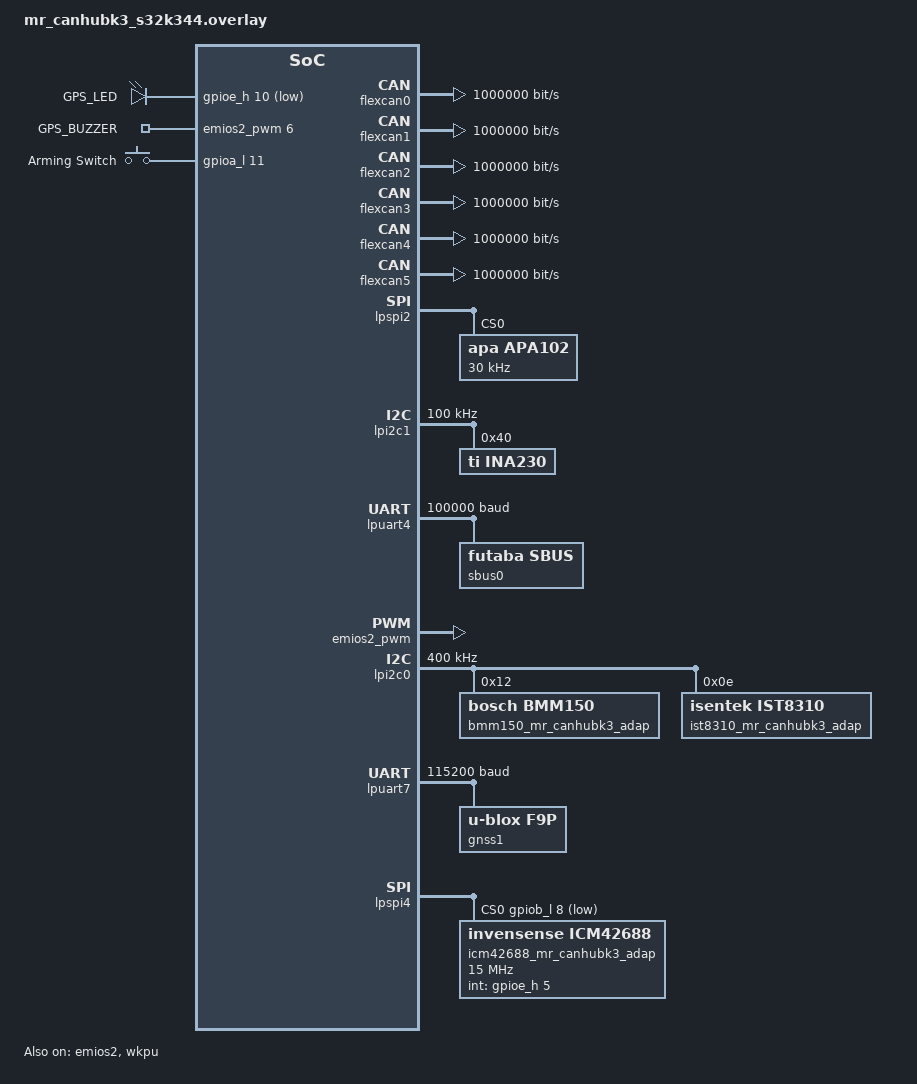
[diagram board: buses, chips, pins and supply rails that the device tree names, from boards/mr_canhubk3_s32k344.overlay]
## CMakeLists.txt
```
#-------------------------------------------------------------------------------
# Zephyr Cerebri Application
#
# Copyright (c) 2023 CogniPilot Foundation
# SPDX-License-Identifier: Apache-2.0

cmake_minimum_required(VERSION 3.13.1)

find_package(Zephyr REQUIRED HINTS $ENV{ZEPHYR_BASE})

project(melm LANGUAGES C)

set(CYECCA_PYTHON  ${CMAKE_CURRENT_SOURCE_DIR}/../../scripts/cyecca_python)

set(flags
  -std=c11
  -Wall
  -Wextra
  -Werror
  -Wstrict-prototypes
  -Waggregate-return
  -Wbad-function-cast
  -Wcast-align
  -Wcast-qual
  -Wfloat-equal
  -Wformat-security
  -Wlogical-op
  -Wmissing-declarations
  # ubxlib includes geographiclib which dir doesn't exist
  #-Wmissing-include-dirs
  -Wmissing-prototypes
  -Wnested-externs
  -Wpointer-arith
  -Wredundant-decls
  -Wsequence-point
  -Wshadow
  -Wstrict-prototypes
  -Wswitch
  -Wundef
  -Wunreachable-code
  -Wunused-but-set-parameter
  -Wwrite-strings
  )
string(JOIN " " flags ${flags})

set(SOURCE_FILES
  src/boot_banner.c
  src/input_mapping.c
  )

if (CONFIG_CEREBRI_MELM_FSM)
  list(APPEND SOURCE_FILES src/fsm.c)
endif()

if (CONFIG_CEREBRI_MELM_ESTIMATE)
  list(APPEND SOURCE_FILES src/estimate.c)
endif()

if (CONFIG_CEREBRI_MELM_MIXING)
  list(APPEND SOURCE_FILES src/mixing.c)
endif()

if (CONFIG_CEREBRI_MELM_LIGHTING)
  list(APPEND SOURCE_FILES src/lighting.c)
endif()

if (CONFIG_CEREBRI_MELM_COMMAND)
  list(APPEND SOURCE_FILES src/command.c)
endif()

if (CONFIG_CEREBRI_MELM_POSITION)
  list(APPEND SOURCE_FILES
    src/position.c)
endif()

if (CONFIG_CEREBRI_MELM_VELOCITY)
  list(APPEND SOURCE_FILES
    src/velocity.c)
endif()

set(CASADI_DEST_DIR ${CMAKE_BINARY_DIR}/app/melm/casadi)

set(CASADI_FILES
  ${CASADI_DEST_DIR}/melm.c
  )

if (CONFIG_CEREBRI_MELM_CASADI)
  list(APPEND SOURCE_FILES
    ${CASADI_DEST_DIR}/melm.c
    )
endif()

add_custom_command(OUTPUT ${CASADI_DEST_DIR}/melm.c
  COMMAND ${CYECCA_PYTHON} ${CMAKE_CURRENT_SOURCE_DIR}/src/casadi/melm.py ${CASADI_DEST_DIR}
  DEPENDS ${CMAKE_CURRENT_SOURCE_DIR}/src/casadi/melm.py)

set_source_files_properties(
  ${SOURCE_FILES}
  PROPERTIES COMPILE_FLAGS
  "${flags}"
  )

set_source_files_properties(
  ${CASADI_FILES}
  PROPERTIES COMPILE_FLAGS
  "${flags}\
  -Wno-unused-parameter\
  -Wno-missing-prototypes\
  -Wno-missing-declarations\
  -Wno-float-equal")

target_sources(app PRIVATE ${SOURCE_FILES})

target_include_directories(app SYSTEM BEFORE PRIVATE ${ZEPHYR_BASE}/include ${CMAKE_BINARY_DIR})

# vi: ts=2 sw=2 et
```

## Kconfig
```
# Copyright (c) 2023, CogniPilot Foundation
# SPDX-License-Identifier: Apache-2.0

mainmenu "CogniPilot - Cerebri - MELM"
menu "Zephyr"
source "Kconfig.zephyr"
endmenu

menu "MELM"
config CEREBRI_MELM_ESTIMATE
  bool "enable estimate"
  depends on CEREBRI_MELM_CASADI
  help
    Enable estimator

config CEREBRI_MELM_FSM
  bool "enable finite state machine"
  help
    Enable fintie state machine

config CEREBRI_MELM_LIGHTING
  bool "enable lighting"
  help
    Enable lighting

config CEREBRI_MELM_COMMAND
  bool "enable command"
  depends on CEREBRI_MELM_MIXING
  help
    Enable command

config CEREBRI_MELM_MIXING
  bool "enable mixing"
  help
    Enable mixing

config CEREBRI_MELM_POSITION
  bool "enable position"
  depends on CEREBRI_MELM_CASADI
  help
    Enable position

config CEREBRI_MELM_VELOCITY
  bool "enable velocity"
  depends on CEREBRI_MELM_MIXING
  depends on CEREBRI_MELM_CASADI
  help
    Enable velocity

config CEREBRI_MELM_CASADI
  bool "enable casadi code"
  help
    Enable Casadi generated code

config CEREBRI_MELM_BATTERY_MIN_MILLIVOLT
  int "min battery voltage in milli volts before shut off"
  default 16500
  help
    Minimum battery voltage in mV before auto-disarm

config CEREBRI_MELM_BATTERY_LOW_MILLIVOLT
  int "low battery voltage in milli volts before warning"
  default 17250
  help
    Low battery voltage in mV before warning

config CEREBRI_MELM_BATTERY_MAX_MILLIVOLT
  int "max battery voltage in milli volts"
  default 21900
  help
    Maximum battery voltage

config CEREBRI_MELM_GAIN_HEADING
  int "heading gain"
  default 100
  help
    Steering = Heading error * GAIN_/ 1000

config CEREBRI_MELM_GAIN_CROSS_TRACK
  int "cross track gain"
  default 100
  help
    Steering = Cross track error * GAIN / 1000

config CEREBRI_MELM_GAIN_ALONG_TRACK
  int "along track gain"
  default 100
  help
    Steering = Along track error * GAIN / 1000

config CEREBRI_MELM_MAX_VELOCITY_MM_S
  int "max velocity, mm/s"
  default 200
  help
    Max velocity in mm/s

config CEREBRI_MELM_WHEEL_RADIUS_MM
  int "wheel radius, mm"
  default 104
  help
    Wheel radius in mm

config CEREBRI_MELM_WHEEL_SEPARATION_MM
  int "wheel separation, mm"
  default 408
  help
    Wheel radius in mm

config CEREBRI_MELM_WHEEL_BASE_MM
  int "wheel base, mm"
  default 280
  help
    Wheel radius in mm

module = CEREBRI_MELM
module-str = cerebri_melm
source "subsys/logging/Kconfig.template.log_config"
endmenu
```

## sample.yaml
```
sample:
  description: MELM
  name: MELM
common:
  build_only: true
tests:
  melm.posix:
    tags:
      - melm
    integration_platforms:
      - native_sim
  melm.mr_canhubk3/s32k344:
    tags:
      - melm
    integration_platforms:
      - mr_canhubk3
```

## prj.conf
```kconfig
CONFIG_CEREBRI_APP_NAME="melm"

CONFIG_SYS_CLOCK_TICKS_PER_SEC=10000
CONFIG_TICKLESS_KERNEL=n

CONFIG_CEREBRI_DREAM_SIL=n

CONFIG_CEREBRI_MELM_ESTIMATE=y
CONFIG_CEREBRI_MELM_FSM=y
CONFIG_CEREBRI_MELM_COMMAND=y
CONFIG_CEREBRI_MELM_MIXING=y
CONFIG_CEREBRI_MELM_POSITION=y
CONFIG_CEREBRI_MELM_VELOCITY=y
CONFIG_CEREBRI_MELM_LIGHTING=y
CONFIG_CEREBRI_MELM_CASADI=y
CONFIG_CEREBRI_ACTUATE_LED_ARRAY_COUNT=12

CONFIG_CEREBRI_ACTUATE_VESC_CAN=y
CONFIG_CEREBRI_ACTUATE_LED_ARRAY=y
CONFIG_CEREBRI_ACTUATE_SOUND=y

CONFIG_NET_BUF_RX_COUNT=24
CONFIG_NET_PKT_RX_COUNT=24

CONFIG_CEREBRI_SENSE_RC=y
CONFIG_CEREBRI_SENSE_POWER=y
CONFIG_CEREBRI_SENSE_SAFETY=y
CONFIG_ZROS_SENSE_IMU=y
CONFIG_ZROS_SENSE_MAG=y
CONFIG_CEREBRI_SENSE_WHEEL_ODOMETRY=n

CONFIG_CEREBRI_SYNAPSE_ETH_RX=y
CONFIG_CEREBRI_SYNAPSE_ETH_TX=y

CONFIG_CEREBRI_SYNAPSE_TOPIC=y
CONFIG_CEREBRI_CORE_COMMON=y
CONFIG_CEREBRI_CORE_COMMON_BOOT_BANNER=y
CONFIG_ZROS=y
CONFIG_SHELL_STACK_SIZE=8192
CONFIG_INIT_STACKS=y

CONFIG_LOG=y
CONFIG_LOG_CMDS=y
CONFIG_LOG_MODE_DEFERRED=y

CONFIG_CEREBRI_SYNAPSE_LOG_SDCARD=n

CONFIG_CBPRINTF_FP_SUPPORT=y

# modules
CONFIG_SYNAPSE_PB=y
CONFIG_NANOPB=y

# Debug
CONFIG_CEREBRI_SENSE_WHEEL_ODOMETRY_LOG_LEVEL_DBG=n
CONFIG_ZROS_SENSE_IMU_LOG_LEVEL_DBG=n
CONFIG_CEREBRI_SENSE_SAFETY_LOG_LEVEL_DBG=n

# General config
CONFIG_POSIX_API=y
CONFIG_NEWLIB_LIBC=y
CONFIG_MAIN_THREAD_PRIORITY=5
CONFIG_SYSTEM_WORKQUEUE_PRIORITY=-2
CONFIG_SYS_CLOCK_TICKS_PER_SEC=10000

# Networking config
CONFIG_NET_SHELL=y
CONFIG_NETWORKING=y
CONFIG_NET_IPV4=y
CONFIG_NET_IPV6=n
CONFIG_NET_TCP=y
CONFIG_NET_SOCKETS=y

# Network address config
CONFIG_NET_CONFIG_SETTINGS=y
CONFIG_NET_STATISTICS=y
CONFIG_NET_MGMT_EVENT_INFO=y
CONFIG_NET_MGMT_EVENT_MONITOR=y
CONFIG_NET_BUF_POOL_USAGE=y
CONFIG_NET_DEBUG_NET_PKT_ALLOC=y
CONFIG_NET_CONFIG_NEED_IPV4=y
CONFIG_NET_CONFIG_MY_IPV4_ADDR="192.0.2.1"
CONFIG_NET_CONFIG_PEER_IPV4_ADDR="192.0.2.2"

# STATS
CONFIG_THREAD_RUNTIME_STATS=y
CONFIG_SCHED_THREAD_USAGE=y
CONFIG_SCHED_THREAD_USAGE_ANALYSIS=y
CONFIG_SCHED_THREAD_USAGE_ALL=y
CONFIG_SCHED_THREAD_USAGE_AUTO_ENABLE=y
```

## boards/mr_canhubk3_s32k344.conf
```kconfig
CONFIG_ENTROPY_GENERATOR=y
CONFIG_TEST_RANDOM_GENERATOR=y
CONFIG_SPEED_OPTIMIZATIONS=y
CONFIG_SIZE_OPTIMIZATIONS=n

CONFIG_TEST=y
CONFIG_UBSAN=n
CONFIG_ASSERT=y
CONFIG_ASSERT_LEVEL=2
CONFIG_ASSERT_VERBOSE=y

CONFIG_SYSTEM_WORKQUEUE_STACK_SIZE=4096

CONFIG_STACK_CANARIES=y

CONFIG_ISR_STACK_SIZE=2048

CONFIG_LOG_MODE_DEFERRED=y
CONFIG_LOG_MODE_IMMEDIATE=n

CONFIG_FPU=y
CONFIG_PWM=y

# config
CONFIG_INPUT=y
CONFIG_INPUT_GPIO_KEYS=y
CONFIG_INPUT_SBUS=y
CONFIG_INPUT_SBUS_THREAD_STACK_SIZE=8192
CONFIG_INPUT_SBUS_REPORT_FILTER=0
CONFIG_INPUT_EVENT_DUMP=n
CONFIG_INPUT_SHELL=n
CONFIG_INPUT_MODE_SYNCHRONOUS=y
CONFIG_INPUT_THREAD_STACK_SIZE=2048


CONFIG_CEREBRI_SENSE_RC=y
CONFIG_ZROS_SENSE_IMU=y
CONFIG_ZROS_SENSE_MAG=y
CONFIG_CEREBRI_SENSE_SAFETY=y
CONFIG_ZROS_SENSE_GNSS=y

CONFIG_CEREBRI_SYNAPSE_ETH_RX=y
CONFIG_CEREBRI_SYNAPSE_ETH_TX=y

CONFIG_CAN=y
CONFIG_CEREBRI_ACTUATE_VESC_CAN=y

CONFIG_LED_STRIP=y
CONFIG_APA102_STRIP=y
CONFIG_CEREBRI_ACTUATE_LED_ARRAY=y
CONFIG_ZROS_SENSE_MAG_COUNT=2
CONFIG_CEREBRI_SENSE_POWER=n
CONFIG_CEREBRI_ACTUATE_SOUND=y

CONFIG_ETH_NXP_S32_RX_RING_LEN=16

CONFIG_CAN=y
CONFIG_CAN_MAX_FILTER=5
CONFIG_CAN_SHELL=y

CONFIG_NET_DRIVERS=y
CONFIG_NET_CANBUS=y

CONFIG_NET_SOCKETS_CAN=y
CONFIG_NET_DEFAULT_IF_CANBUS_RAW=y

CONFIG_CAN_LOG_LEVEL_DBG=n
CONFIG_CAN_FD_MODE=y
CONFIG_SHELL_ARGC_MAX=72
CONFIG_I2C=y
CONFIG_SENSOR=y
CONFIG_SENSOR_SHELL=y
CONFIG_HEAP_MEM_POOL_SIZE=16384

# Debugging
CONFIG_DEBUG_THREAD_INFO=y

# Logging
#CONFIG_LOG_BACKEND_NET=n
#CONFIG_LOG_BACKEND_NET_SERVER="192.0.2.2"
```

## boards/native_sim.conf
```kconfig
CONFIG_ETH_NATIVE_POSIX=y
CONFIG_TEST_RANDOM_GENERATOR=y
CONFIG_SYS_CLOCK_TICKS_PER_SEC=500
CONFIG_NATIVE_POSIX_SLOWDOWN_TO_REAL_TIME=n

CONFIG_NO_OPTIMIZATIONS=y
CONFIG_UART_NATIVE_PTY=y
CONFIG_LOG_BACKEND_NATIVE_POSIX=n
CONFIG_UART_NATIVE_PTY_0_ON_OWN_PTY=y
CONFIG_UART_NATIVE_PTY_0_ON_STDINOUT=n
CONFIG_UART_NATIVE_PTY_AUTOATTACH_DEFAULT_CMD="xterm -fa Monospcae -fs 12 -fg grey -bg black -T cerebri-shell -e screen %s &"

CONFIG_CEREBRI_CORE_COMMON_BOOT_BANNER=n
CONFIG_CEREBRI_DREAM_SIL=y
CONFIG_UBXLIB=n

CONFIG_TEST=y
CONFIG_ASAN=y
CONFIG_UBSAN=n
CONFIG_ASSERT=y
CONFIG_ASSERT_LEVEL=2
CONFIG_ASSERT_VERBOSE=y

CONFIG_CEREBRI_ACTUATE_LED_ARRAY=n
CONFIG_CEREBRI_ACTUATE_SOUND=n
CONFIG_CEREBRI_SENSE_SBUS=n
CONFIG_CEREBRI_ACTUATE_PWM=n
CONFIG_CEREBRI_SENSE_POWER=n
CONFIG_ZROS_SENSE_IMU=n
CONFIG_ZROS_SENSE_BARO=n
CONFIG_ZROS_SENSE_MAG=n
CONFIG_CEREBRI_SENSE_UBX_GNSS=n
CONFIG_CEREBRI_SENSE_SAFETY=n
CONFIG_CEREBRI_SENSE_WHEEL_ODOMETRY=n

CONFIG_CEREBRI_DREAM_SIL_LOG_LEVEL_DBG=n

CONFIG_NEWLIB_LIBC=n
CONFIG_EXTERNAL_LIBC=y
CONFIG_POSIX_API=n
```

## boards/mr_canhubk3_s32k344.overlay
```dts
/* SPDX-License-Identifier: Apache-2.0 */
/* Copyright 2023 CogniPilot Foundation */
#include <freq.h>
#include <zephyr/dt-bindings/gpio/nxp-siul2-gpio.h>
#include <zephyr/dt-bindings/input/input-event-codes.h>
#include <zephyr/dt-bindings/led/led.h>
#include <zephyr/dt-bindings/sensor/ina230.h>
#include <zephyr/dt-bindings/sensor/icm42688.h>

/ {
	vesc_can_actuators: vesc_can_actuators {
		compatible = "cerebri,vesc_can-actuators";
		device = <&flexcan0>;
		pub-wheel-odometry;
		status-rate = <50>;
		motor0 {
			vesc-id = <60>;
			input-type = "velocity";
			input-index = <0>;
			pole-pair = <15>;
		};
		motor1 {
			vesc-id = <61>;
			input-type = "velocity";
			input-index = <1>;
			pole-pair = <15>;
		};
	};

	chosen {
		zephyr,canbus = &flexcan3;
	};

	aliases {
		accel0 = &icm42688_mr_canhubk3_adap;
		gyro0 = &icm42688_mr_canhubk3_adap;
		mag0 = &bmm150_mr_canhubk3_adap;
		mag1 = &ist8310_mr_canhubk3_adap;
		led0 = &gps_led_mr_canhubk3_adap;
		buzzer = &gps_buzzer_mr_canhubk3_adap;
		power0 = &ina230;
		wheel-odometry0 = &qdec0;
		rc = &sbus0;
		safety-button = &safety_button_mr_canhubk3_adap;
		gnss = &gnss1;
	};
	leds {
		gps_led_mr_canhubk3_adap: gps_led {
			label = "GPS_LED";
			gpios = <&gpioe_h 10 GPIO_ACTIVE_LOW>;
		};
	};
	pwmbuzzers {
		compatible = "pwm-leds";

		gps_buzzer_mr_canhubk3_adap: gps_buzzer {
			label = "GPS_BUZZER";
			pwms = <&emios2_pwm 6 PWM_KHZ(1) PWM_POLARITY_NORMAL>;
		};
	};
	gpio_keys {
		compatible = "gpio-keys";
		safety_button_mr_canhubk3_adap: button_0 {
			label = "Arming Switch";
			gpios = <&gpioa_l 11 (GPIO_PULL_DOWN | GPIO_ACTIVE_HIGH)>;
			zephyr,code = <INPUT_KEY_0>;
		};
	};
};

&eirq0_default {
    group2 {
        pinmux = <PTA11_EIRQ19>;
        input-enable;
    };
};

&gpioa_l {
	status = "okay";
};

&emios0_pwm {
	pwm_0 {
		/delete-property/ period;
		/delete-property/ prescaler;
		master-bus = <&emios0_bus_a>;
		pwm-mode = "OPWMB";
		phase-shift = <100>;
	};
	pwm_1 {
		prescaler = <1>;
	};
	pwm_2 {
		prescaler = <1>;
	};
};

&flexcan0 {
	status = "okay";
	bitrate = <1000000>;
	bitrate-data = <4000000>;
};

&flexcan1 {
	status = "okay";
	bitrate = <1000000>;
	bitrate-data = <4000000>;
};

&flexcan2 {
	status = "okay";
	bitrate = <1000000>;
	bitrate-data = <4000000>;
};

&flexcan3 {
	status = "okay";
	bitrate = <1000000>;
	bitrate-data = <4000000>;
};

&flexcan4 {
	status = "okay";
	bitrate = <1000000>;
	bitrate-data = <4000000>;
};

&flexcan5 {
	status = "okay";
	bitrate = <1000000>;
	bitrate-data = <4000000>;
};

&lpspi2 {
	status = "okay";
	apa102: apa102@0 {
		compatible = "apa,apa102";
		reg = <0>;
		spi-max-frequency = <30000>;
		status = "okay";
		chain-length = <12>;
		color-mapping = <>;
	};
};

&lpi2c1 {
	status = "okay";
	pinctrl-0 = <&lpi2c1_default>;
	pinctrl-names = "default";
	clock-frequency = <I2C_BITRATE_STANDARD>;

	ina230: ina230@40 {
		compatible = "ti,ina230";
		reg = <0x40>;
		current-lsb-microamps = <10000>;
		rshunt-micro-ohms = <2000>;
	};
};

&lpuart4 {
	status = "okay";
	pinctrl-0 = <&lpuart4_mr_canhubk3_adap>;
	pinctrl-names = "default";
	current-speed = <100000>;
	single-wire;
	rx-invert;

	sbus0: sbus {
		compatible = "futaba,sbus";
		chan_1 {
			channel = <1>;
			type = <INPUT_EV_ABS>;
			zephyr,code = <1>;
		};
		chan_2 {
			channel = <2>;
			type = <INPUT_EV_ABS>;
			zephyr,code = <2>;
		};
		chan_3 {
			channel = <3>;
			type = <INPUT_EV_ABS>;
			zephyr,code = <3>;
		};
		chan_4 {
			channel = <4>;
			type = <INPUT_EV_ABS>;
			zephyr,code = <4>;
		};
		chan_5 {
			channel = <5>;
			type = <INPUT_EV_ABS>;
			zephyr,code = <5>;
		};
		chan_6 {
			channel = <6>;
			type = <INPUT_EV_ABS>;
			zephyr,code = <6>;
		};
		chan_7 {
			channel = <7>;
			type = <INPUT_EV_ABS>;
			zephyr,code = <7>;
		};
		chan_8 {
			channel = <8>;
			type = <INPUT_EV_ABS>;
			zephyr,code = <8>;
		};
		chan_9 {
			channel = <9>;
			type = <INPUT_EV_ABS>;
			zephyr,code = <9>;
		};
		chan_10 {
			channel = <10>;
			type = <INPUT_EV_ABS>;
			zephyr,code = <10>;
		};
		chan_11 {
			channel = <11>;
			type = <INPUT_EV_ABS>;
			zephyr,code = <11>;
		};
		chan_12 {
			channel = <12>;
			type = <INPUT_EV_ABS>;
			zephyr,code = <12>;
		};
		chan_13 {
			channel = <13>;
			type = <INPUT_EV_ABS>;
			zephyr,code = <13>;
		};
		chan_14 {
			channel = <14>;
			type = <INPUT_EV_ABS>;
			zephyr,code = <14>;
		};
		chan_15 {
			channel = <15>;
			type = <INPUT_EV_ABS>;
			zephyr,code = <15>;
		};
		chan_16 {
			channel = <16>;
			type = <INPUT_EV_ABS>;
			zephyr,code = <16>;
		};
	};
};

&emios2 {
	clock-divider = <160>;
	status = "okay";

	master_bus {
		/* Internal counter's clock = 160 MHz (eMIOS1 clk) / 160 / 1 = 1 MHz */
		emios2_bus_b {
			mode = "MCB_UP_COUNTER";
			prescaler = <1>;
			status = "okay";
		};
	};

	emios2_pwm: pwm {
		pinctrl-0 = <&emios2_mr_canhubk3_adap>;
		pinctrl-names = "default";
		status = "okay";

		pwm_gps_buzzer {
			channel = <6>;
			master-bus = <&emios2_bus_b>;
			pwm-mode = "OPWMB";
		};
	};
};

&lpi2c0 {
	status = "okay";
	clock-frequency = <I2C_BITRATE_FAST>;

	bmm150_mr_canhubk3_adap: bmm150@12  {
		compatible = "bosch,bmm150";
		status = "okay";
		reg = <0x12>;
	};

	ist8310_mr_canhubk3_adap: ist8310@e {
		compatible = "isentek,ist8310";
		status = "okay";
		reg = <0xe>;
	};
};

&wkpu {
	status = "okay";
};

&pinctrl {
	lpspi4_mr_canhubk3_adap: lpspi4_mr_canhubk3_adap {
		group1 {
			pinmux = <PTB10_LPSPI4_SCK_O>, <PTB11_LPSPI4_SIN_O>;
			output-enable;
		};
		group2 {
			pinmux = <PTB9_LPSPI4_SOUT_I>;
			input-enable;
		};
	};

	emios2_mr_canhubk3_adap: emios2_mr_canhubk3_adap {
		group1 {
			pinmux = <PTE26_EMIOS_2_CH6_H_O>;
			output-enable;
		};
	};

	lpuart4_mr_canhubk3_adap: lpuart4_mr_canhubk3_adap {
		group1 {
			pinmux = <PTE11_LPUART4_TX_I>;
			input-enable;
		};
	};

	lpuart7_mr_canhubk3_adap: lpuart7_mr_canhubk3_adap {
		group1 {
			pinmux = <PTE1_LPUART7_TX_O>;
			output-enable;
		};
		group2 {
			pinmux = <PTE0_LPUART7_RX>;
			input-enable;
		};
	};
};

/* GNSS 1 */
uart0: &lpuart7 {
	status = "okay";
	pinctrl-0 = <&lpuart7_mr_canhubk3_adap>;
	pinctrl-names = "default";
	current-speed = <115200>;

	gnss1: gnss {
			status = "okay";
			compatible = "u-blox,f9p";
			fix-rate = <100>;
	};
};

&lpspi4 {
	status = "okay";
	pinctrl-0 = <&lpspi4_mr_canhubk3_adap>;
	pinctrl-names = "default";
	cs-gpios = <&gpiob_l 8 GPIO_ACTIVE_LOW>;

	icm42688_mr_canhubk3_adap: icm42688p0@0 {
		fifo-hires;
		compatible = "invensense,icm42688", "invensense,icm4268x";
		reg = <0>;
		int-gpios = <&gpioe_h 5 NXP_SIUL2_GPIO_INT_WKPU>;
		spi-max-frequency = <15000000>;
		accel-pwr-mode = <ICM42688_DT_ACCEL_LN>;
		accel-odr = <ICM42688_DT_ACCEL_ODR_200>;
		accel-fs = <ICM42688_DT_ACCEL_FS_16>;
		gyro-pwr-mode = <ICM42688_DT_GYRO_LN>;
		gyro-odr = <ICM42688_DT_GYRO_ODR_200>;
		gyro-fs = <ICM42688_DT_GYRO_FS_2000>;
	};
};

&vesc_can_actuators {
	status = "okay";
};
```

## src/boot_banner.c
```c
/*
 * Copyright (c) 2023 CogniPilot Foundation
 * SPDX-License-Identifier: Apache-2.0
 */

#include <zephyr/kernel.h>
#include <zephyr/logging/log.h>

#if defined(CONFIG_CEREBRI_CORE_COMMON_BOOT_BANNER)
#include <stdio.h>
#endif

#include <cerebri/core/common.h>

LOG_MODULE_REGISTER(melm_boot_banner, CONFIG_CEREBRI_MELM_LOG_LEVEL);

static int melm_boot_banner_sys_init(void)
{
	LOG_INF("Cerebri MELM %d.%d.%d", CONFIG_CEREBRI_VERSION_MAJOR, CONFIG_CEREBRI_VERSION_MINOR,
		CONFIG_CEREBRI_VERSION_PATCH);
#if defined(CONFIG_CEREBRI_CORE_COMMON_BOOT_BANNER)
	printf("%s%s", banner_brain, banner_name);
#endif
	return 0;
};

SYS_INIT(melm_boot_banner_sys_init, APPLICATION, 0);

// vi: ts=4 sw=4 et
```

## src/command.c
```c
/*
 * Copyright CogniPilot Foundation 2024
 * SPDX-License-Identifier: Apache-2.0
 */

#include <zephyr/kernel.h>
#include <zephyr/logging/log.h>
#include <zephyr/shell/shell.h>

#include <zros/private/zros_node_struct.h>
#include <zros/private/zros_pub_struct.h>
#include <zros/private/zros_sub_struct.h>
#include <zros/zros_node.h>
#include <zros/zros_pub.h>
#include <zros/zros_sub.h>

#include <synapse_topic_list.h>

#include "input_mapping.h"
#include "mixing.h"

#define MY_STACK_SIZE 8192
#define MY_PRIORITY   4

LOG_MODULE_REGISTER(melm_command, CONFIG_CEREBRI_MELM_LOG_LEVEL);

static K_THREAD_STACK_DEFINE(g_my_stack_area, MY_STACK_SIZE);

struct context {
	struct zros_node node;
	synapse_pb_Status status;
	synapse_pb_Input input;
	synapse_pb_Actuators actuators;
	synapse_pb_Twist cmd_vel;
	struct zros_sub sub_status, sub_cmd_vel, sub_input;
	struct zros_pub pub_actuators;
	const double wheel_radius;
	const double max_velocity;
	struct k_sem running;
	size_t stack_size;
	k_thread_stack_t *stack_area;
	struct k_thread thread_data;
};

static struct context g_ctx = {
	.node = {},
	.status = synapse_pb_Status_init_default,
	.input = synapse_pb_Input_init_default,
	.actuators = synapse_pb_Actuators_init_default,
	.cmd_vel = synapse_pb_Twist_init_default,
	.sub_status = {},
	.sub_cmd_vel = {},
	.pub_actuators = {},
	.wheel_radius = CONFIG_CEREBRI_MELM_WHEEL_RADIUS_MM / 1000.0,
	.max_velocity = CONFIG_CEREBRI_MELM_MAX_VELOCITY_MM_S / 1000.0,
	.running = Z_SEM_INITIALIZER(g_ctx.running, 1, 1),
	.stack_size = MY_STACK_SIZE,
	.stack_area = g_my_stack_area,
	.thread_data = {},
};

static void melm_command_init(struct context *ctx)
{
	zros_node_init(&ctx->node, "melm_command");
	zros_sub_init(&ctx->sub_status, &ctx->node, &topic_status, &ctx->status, 10);
	zros_sub_init(&ctx->sub_input, &ctx->node, &topic_input, &ctx->input, 10);
	zros_sub_init(&ctx->sub_cmd_vel, &ctx->node, &topic_cmd_vel, &ctx->cmd_vel, 10);
	zros_pub_init(&ctx->pub_actuators, &ctx->node, &topic_actuators, &ctx->actuators);
	k_sem_take(&ctx->running, K_FOREVER);
	LOG_INF("init");
}

static void melm_command_fini(struct context *ctx)
{
	zros_sub_fini(&ctx->sub_status);
	zros_sub_fini(&ctx->sub_input);
	zros_sub_fini(&ctx->sub_cmd_vel);
	zros_pub_fini(&ctx->pub_actuators);
	zros_node_fini(&ctx->node);
	k_sem_give(&ctx->running);
	LOG_INF("fini");
}

static void melm_stop(struct context *ctx)
{
	for (int i = 0; i < ctx->input.channel_count; i++) {
		ctx->input.channel[i] = 0;
	}
	ctx->cmd_vel.has_angular = true;
	ctx->cmd_vel.angular.x = 0;
	ctx->cmd_vel.angular.y = 0;
	ctx->cmd_vel.angular.z = 0;
	ctx->cmd_vel.has_linear = true;
	ctx->cmd_vel.linear.x = 0;
	ctx->cmd_vel.linear.y = 0;
	ctx->cmd_vel.linear.z = 0;
}

static void melm_command_run(void *p0, void *p1, void *p2)
{
	struct context *ctx = p0;
	ARG_UNUSED(p1);
	ARG_UNUSED(p2);

	melm_command_init(ctx);

	double dt = 0;
	int64_t ticks_last = k_uptime_ticks();

	while (k_sem_take(&ctx->running, K_NO_WAIT) < 0) {
		// wait for input event, publish at 1 Hz regardless
		int rc = 0;

		struct k_poll_event events[3] = {
			*zros_sub_get_event(&ctx->sub_status),
			*zros_sub_get_event(&ctx->sub_input),
			*zros_sub_get_event(&ctx->sub_cmd_vel),
		};
		rc = k_poll(events, ARRAY_SIZE(events), K_MSEC(1000));

		if (rc != 0) {
			melm_stop(ctx);
		}

		bool update_status = zros_sub_update_available(&ctx->sub_status);
		bool update_input = zros_sub_update_available(&ctx->sub_input);
		bool update_cmd_vel = zros_sub_update_available(&ctx->sub_cmd_vel);

		if (update_status) {
			zros_sub_update(&ctx->sub_status);
		}

		if (update_input) {
			zros_sub_update(&ctx->sub_input);
		}

		if (update_cmd_vel) {
			zros_sub_update(&ctx->sub_cmd_vel);
		}

		// calculate dt
		int64_t ticks_now = k_uptime_ticks();
		dt = (double)(ticks_now - ticks_last) / CONFIG_SYS_CLOCK_TICKS_PER_SEC;
		ticks_last = ticks_now;
		if (dt < 0 || dt > 0.5) {
			LOG_ERR("input update rate too low: %10.4f", dt);
			continue;
		}

		if (ctx->status.mode == synapse_pb_Status_Mode_MODE_ACTUATORS) {

			double omega_fwd = ctx->max_velocity *
					   (double)ctx->input.channel[CH_LEFT_STICK_UP] /
					   ctx->wheel_radius;
			double omega_diff = -ctx->max_velocity *
					    (double)ctx->input.channel[CH_RIGHT_STICK_RIGHT] /
					    ctx->wheel_radius;

			double omega_left = omega_fwd - omega_diff;
			double omega_right = omega_fwd + omega_diff;

			bool armed = ctx->status.arming == synapse_pb_Status_Arming_ARMING_ARMED;

			melm_set_actuators(&ctx->actuators, omega_left, omega_right, armed);
			zros_pub_update(&ctx->pub_actuators);
		}
	}

	melm_command_fini(ctx);
}

static int start(struct context *ctx)
{
	k_tid_t tid = k_thread_create(&ctx->thread_data, ctx->stack_area, ctx->stack_size,
				      melm_command_run, ctx, NULL, NULL, MY_PRIORITY, 0, K_FOREVER);
	k_thread_name_set(tid, "melm_command");
	k_thread_start(tid);
	return 0;
}

static int melm_command_cmd_handler(const struct shell *sh, size_t argc, char **argv, void *data)
{
	ARG_UNUSED(argc);
	struct context *ctx = data;

	if (strcmp(argv[0], "start") == 0) {
		if (k_sem_count_get(&g_ctx.running) == 0) {
			shell_print(sh, "already running");
		} else {
			start(ctx);
		}
	} else if (strcmp(argv[0], "stop") == 0) {
		if (k_sem_count_get(&g_ctx.running) == 0) {
			k_sem_give(&g_ctx.running);
		} else {
			shell_print(sh, "not running");
		}
	} else if (strcmp(argv[0], "status") == 0) {
		shell_print(sh, "running: %d", (int)k_sem_count_get(&g_ctx.running) == 0);
	}
	return 0;
}

SHELL_SUBCMD_DICT_SET_CREATE(sub_melm_command, melm_command_cmd_handler, (start, &g_ctx, "start"),
			     (stop, &g_ctx, "stop"), (status, &g_ctx, "status"));

SHELL_CMD_REGISTER(melm_command, &sub_melm_command, "melm command arguments", NULL);

static int melm_command_sys_init(void)
{
	return start(&g_ctx);
};

SYS_INIT(melm_command_sys_init, APPLICATION, 1);

// vi: ts=4 sw=4 et
```

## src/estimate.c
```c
/*
 * Copyright CogniPilot Foundation 2023
 * SPDX-License-Identifier: Apache-2.0
 */

#include <math.h>
#include <stdio.h>
#include <time.h>

#include <zephyr/kernel.h>
#include <zephyr/logging/log.h>
#include <zephyr/shell/shell.h>

#include <zros/private/zros_node_struct.h>
#include <zros/private/zros_pub_struct.h>
#include <zros/private/zros_sub_struct.h>
#include <zros/zros_node.h>
#include <zros/zros_pub.h>
#include <zros/zros_sub.h>

#include <synapse_topic_list.h>

#include <cerebri/core/casadi.h>

#include "app/melm/casadi/melm.h"

#define MY_STACK_SIZE 4096
#define MY_PRIORITY   4

#ifndef M_PI
#define M_PI 3.14159265358979323846
#endif

LOG_MODULE_REGISTER(melm_estimate, CONFIG_CEREBRI_MELM_LOG_LEVEL);

static K_THREAD_STACK_DEFINE(g_my_stack_area, MY_STACK_SIZE);

// private context
struct context {
	struct zros_node node;
	synapse_pb_WheelOdometry wheel_odometry;
	synapse_pb_Imu imu;
	synapse_pb_Odometry odometry;
	struct zros_sub sub_wheel_odometry, sub_imu;
	struct zros_pub pub_odometry;
	double x[3];
	const double wheel_radius;
	struct k_sem running;
	size_t stack_size;
	k_thread_stack_t *stack_area;
	struct k_thread thread_data;
};

// private initialization
static struct context g_ctx = {
	.node = {},
	.wheel_odometry = synapse_pb_WheelOdometry_init_default,
	.imu = synapse_pb_Imu_init_default,
	.odometry =
		{
			.child_frame_id = "base_link",
			.has_stamp = true,
			.frame_id = "odom",
			.has_pose = true,
			.pose.has_position = true,
			.pose.has_orientation = true,
		},
	.sub_wheel_odometry = {},
	.sub_imu = {},
	.pub_odometry = {},
	.x = {},
	.wheel_radius = CONFIG_CEREBRI_MELM_WHEEL_RADIUS_MM / 1000.0,
	.running = Z_SEM_INITIALIZER(g_ctx.running, 1, 1),
	.stack_size = MY_STACK_SIZE,
	.stack_area = g_my_stack_area,
	.thread_data = {},
};

static void melm_estimate_init(struct context *ctx)
{
	zros_node_init(&ctx->node, "melm_estimate");
	zros_sub_init(&ctx->sub_imu, &ctx->node, &topic_imu, &ctx->imu, 10);
	zros_sub_init(&ctx->sub_wheel_odometry, &ctx->node, &topic_wheel_odometry,
		      &ctx->wheel_odometry, 10);
	zros_pub_init(&ctx->pub_odometry, &ctx->node, &topic_odometry_estimator, &ctx->odometry);
	k_sem_take(&ctx->running, K_FOREVER);
	LOG_INF("init");
}

static void melm_estimate_fini(struct context *ctx)
{
	zros_pub_fini(&ctx->pub_odometry);
	zros_sub_fini(&ctx->sub_wheel_odometry);
	zros_sub_fini(&ctx->sub_imu);
	zros_node_fini(&ctx->node);
	k_sem_give(&ctx->running);
	LOG_INF("fini");
}

static bool all_finite(double *src, size_t n)
{
	for (size_t i = 0; i < n; i++) {
		if (!isfinite(src[i])) {
			return false;
		}
	}
	return true;
}

static void handle_update(struct context *ctx, double *x1)
{
	bool x1_finite = all_finite(x1, ARRAY_SIZE(ctx->x));

	if (!x1_finite) {
		LOG_WRN("x1 update not finite");
	}

	if (x1_finite) {
		memcpy(ctx->x, x1, sizeof(ctx->x));
	}
}

static void melm_estimate_run(void *p0, void *p1, void *p2)
{
	struct context *ctx = p0;
	ARG_UNUSED(p1);
	ARG_UNUSED(p2);

	int rc = 0;

	// LOG_DBG("started");
	melm_estimate_init(ctx);

	// variables
	double rotation_last = 0;

	struct k_poll_event events[1] = {};

	// wait for imu
	LOG_DBG("waiting for imu");
	events[0] = *zros_sub_get_event(&ctx->sub_imu);
	rc = k_poll(events, ARRAY_SIZE(events), K_FOREVER);
	if (rc != 0) {
		LOG_DBG("did not receive imu");
		return;
	}
	if (zros_sub_update_available(&ctx->sub_imu)) {
		zros_sub_update(&ctx->sub_imu);
	}

	// wait for wheel odometry
	LOG_DBG("waiting for wheel odometry");
	events[0] = *zros_sub_get_event(&ctx->sub_wheel_odometry);
	rc = k_poll(events, ARRAY_SIZE(events), K_FOREVER);
	if (rc != 0) {
		LOG_DBG("did not receive wheel odometry");
		return;
	}
	if (zros_sub_update_available(&ctx->sub_wheel_odometry)) {
		zros_sub_update(&ctx->sub_wheel_odometry);
	}

	double dt = 0;
	int64_t ticks_last = k_uptime_ticks();

	// poll on imu
	events[0] = *zros_sub_get_event(&ctx->sub_imu);

	// estimator state
	while (k_sem_take(&ctx->running, K_NO_WAIT) < 0) {

		// poll for imu
		rc = k_poll(events, ARRAY_SIZE(events), K_MSEC(1000));
		if (rc != 0) {
			LOG_DBG("not receiving imu");
			continue;
		}

		if (zros_sub_update_available(&ctx->sub_imu)) {
			zros_sub_update(&ctx->sub_imu);
		}

		if (zros_sub_update_available(&ctx->sub_wheel_odometry)) {
			zros_sub_update(&ctx->sub_wheel_odometry);
		}

		// calculate dt
		int64_t ticks_now = k_uptime_ticks();
		dt = (double)(ticks_now - ticks_last) / CONFIG_SYS_CLOCK_TICKS_PER_SEC;
		ticks_last = ticks_now;
		if (dt < 0 || dt > 0.5) {
			LOG_WRN("imu update rate too low");
			continue;
		}

		// get data
		double rotation = ctx->wheel_odometry.rotation;

		// negative sign due to current gearing, should be in driver
		double u = (rotation - rotation_last) * ctx->wheel_radius;
		rotation_last = rotation;

		double omega = ctx->imu.angular_velocity.z;
		// LOG_DBG("imu omega z: %10.4f", omega);

		/* predict:(x0[3],omega,u)->(x1[3]) */
		{
			double delta_theta = omega * dt;
			double x1[3];

			// LOG_DBG("predict");
			CASADI_FUNC_ARGS(predict);
			args[0] = ctx->x;
			args[1] = &delta_theta;
			args[2] = &u;
			res[0] = x1;
			CASADI_FUNC_CALL(predict);

			// update x, W
			handle_update(ctx, x1);
		}

		// publish odometry
		{
			stamp_msg(&ctx->odometry.stamp, k_uptime_ticks());

			double theta = ctx->x[2];
			ctx->odometry.pose.position.x = ctx->x[0];
			ctx->odometry.pose.position.y = ctx->x[1];
			ctx->odometry.pose.position.z = 0;
			ctx->odometry.pose.orientation.x = 0;
			ctx->odometry.pose.orientation.y = 0;
			ctx->odometry.pose.orientation.z = sin(theta / 2);
			ctx->odometry.pose.orientation.w = cos(theta / 2);
			ctx->odometry.twist.angular.z = omega;
			ctx->odometry.twist.linear.x = u;
			zros_pub_update(&ctx->pub_odometry);
		}
	}

	melm_estimate_fini(ctx);
}

static int start(struct context *ctx)
{
	k_tid_t tid =
		k_thread_create(&ctx->thread_data, ctx->stack_area, ctx->stack_size,
				melm_estimate_run, ctx, NULL, NULL, MY_PRIORITY, 0, K_FOREVER);
	k_thread_name_set(tid, "melm_estimate");
	k_thread_start(tid);
	return 0;
}

static int melm_estimate_cmd_handler(const struct shell *sh, size_t argc, char **argv, void *data)
{
	ARG_UNUSED(argc);
	struct context *ctx = data;

	if (strcmp(argv[0], "start") == 0) {
		if (k_sem_count_get(&g_ctx.running) == 0) {
			shell_print(sh, "already running");
		} else {
			start(ctx);
		}
	} else if (strcmp(argv[0], "stop") == 0) {
		if (k_sem_count_get(&g_ctx.running) == 0) {
			k_sem_give(&g_ctx.running);
		} else {
			shell_print(sh, "not running");
		}
	} else if (strcmp(argv[0], "status") == 0) {
		shell_print(sh, "running: %d", (int)k_sem_count_get(&g_ctx.running) == 0);
	}
	return 0;
}

SHELL_SUBCMD_DICT_SET_CREATE(sub_melm_estimate, melm_estimate_cmd_handler, (start, &g_ctx, "start"),
			     (stop, &g_ctx, "stop"), (status, &g_ctx, "status"));

SHELL_CMD_REGISTER(melm_estimate, &sub_melm_estimate, "melm estimate arguments", NULL);

static int melm_estimate_sys_init(void)
{
	return start(&g_ctx);
};

SYS_INIT(melm_estimate_sys_init, APPLICATION, 1);

// vi: ts=4 sw=4 et
```

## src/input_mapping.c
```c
#include "input_mapping.h"
#include <math.h>
#include <zephyr/logging/log.h>

LOG_MODULE_DECLARE(melm_fsm);

int two_position_switch(float val)
{
	if (val > 0.0f) {
		return SWITCH_POS_DOWN;
	} else {
		return SWITCH_POS_UP;
	}
}

int three_position_switch(float val)
{
	if (val > 0.25f) {
		return SWITCH_POS_DOWN;
	} else if (fabsf(val) <= 0.25f) {
		return SWITCH_POS_MIDDLE;
	} else {
		return SWITCH_POS_UP;
	}
}

void input_request_compute(struct input_request *req, const synapse_pb_Input *input)
{
	// handle input
	int swa = two_position_switch(input->channel[CH_SWA_DOWN]);
	int swb = three_position_switch(input->channel[CH_SWB_DOWN]);
	int swc = three_position_switch(input->channel[CH_SWC_DOWN]);
	int swd = two_position_switch(input->channel[CH_SWD_DOWN]);

	req->arm = swa == SWITCH_POS_DOWN;
	req->disarm = swa == SWITCH_POS_UP;

	req->topic_source_input = swd == SWITCH_POS_UP;
	req->topic_source_ethernet = swd == SWITCH_POS_DOWN;

	req->mode_actuators = swb == SWITCH_POS_UP && swc == SWITCH_POS_UP;
	req->mode_velocity = swb == SWITCH_POS_UP && swc == SWITCH_POS_MIDDLE;
	req->mode_bezier = swb == SWITCH_POS_UP && swc == SWITCH_POS_DOWN;

	req->mode_calibration = swb == SWITCH_POS_DOWN && swc == SWITCH_POS_DOWN;

	if (input->channel[CH_VRA_CW] > 0.5f && !req->lights_on) {
		req->lights_on = true;
		LOG_INF("request lights on");
	} else if (input->channel[CH_VRA_CW] < -0.5f && req->lights_on) {
		LOG_INF("request lights off");
		req->lights_on = false;
	}
}
```

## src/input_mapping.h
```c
#ifndef CEREBRI_RDD2_INPUT_MAPPING_H_
#define CEREBRI_RDD2_INPUT_MAPPING_H_

#include <stdbool.h>
#include <synapse_pb/input.pb.h>

enum {
	CH_RIGHT_STICK_RIGHT = 0,
	CH_RIGHT_STICK_UP = 1,
	CH_LEFT_STICK_UP = 2,
	CH_LEFT_STICK_RIGHT = 3,
	CH_SWA_DOWN = 4,
	CH_SWB_DOWN = 5,
	CH_SWC_DOWN = 6,
	CH_SWD_DOWN = 7,
	CH_VRA_CW = 8,
	CH_VRB_CCW = 9,
};

enum {
	SWITCH_POS_UP = 0,
	SWITCH_POS_MIDDLE = 1,
	SWITCH_POS_DOWN = 2,
};

int two_position_switch(float val);
int three_position_switch(float val);

struct input_request {
	bool arm;
	bool disarm;
	bool topic_source_input;
	bool topic_source_ethernet;
	bool mode_actuators;
	bool mode_angular_velocity;
	bool mode_attitude;
	bool mode_attitude_rate;
	bool mode_velocity;
	bool mode_bezier;
	bool mode_calibration;
	bool lights_on;
};

void input_request_compute(struct input_request *req, const synapse_pb_Input *input);

#endif // CEREBRI_RDD2_INPUT_MAPPING_H_

// vi: ts=4 sw=4 et
```

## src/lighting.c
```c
/*
 * Copyright CogniPilot Foundation 2023
 * SPDX-License-Identifier: Apache-2.0
 */

#include <math.h>

#include <zephyr/kernel.h>
#include <zephyr/logging/log.h>
#include <zephyr/shell/shell.h>

#include <zros/private/zros_node_struct.h>
#include <zros/private/zros_pub_struct.h>
#include <zros/private/zros_sub_struct.h>
#include <zros/zros_node.h>
#include <zros/zros_pub.h>
#include <zros/zros_sub.h>

#include <synapse_topic_list.h>

#define MY_STACK_SIZE 2048
#define MY_PRIORITY   4

LOG_MODULE_REGISTER(melm_lighting, CONFIG_CEREBRI_MELM_LOG_LEVEL);

static K_THREAD_STACK_DEFINE(g_my_stack_area, MY_STACK_SIZE);

struct context {
	// node
	struct zros_node node;
	// data
	synapse_pb_BatteryState battery_state;
	synapse_pb_Safety safety;
	synapse_pb_Status status;
	synapse_pb_LEDArray led_array;
	// subscriptions
	struct zros_sub sub_battery_state, sub_safety, sub_status;
	// publications
	struct zros_pub pub_led_array;
	struct k_sem running;
	size_t stack_size;
	k_thread_stack_t *stack_area;
	struct k_thread thread_data;
};

static struct context g_ctx = {
	.node = {},
	.battery_state = synapse_pb_BatteryState_init_default,
	.safety = synapse_pb_Safety_init_default,
	.status = synapse_pb_Status_init_default,
	.led_array = synapse_pb_LEDArray_init_default,
	.sub_safety = {},
	.sub_status = {},
	.pub_led_array = {},
	.running = Z_SEM_INITIALIZER(g_ctx.running, 1, 1),
	.stack_size = MY_STACK_SIZE,
	.stack_area = g_my_stack_area,
	.thread_data = {},
};

static void melm_lighting_init(struct context *ctx)
{
	zros_node_init(&ctx->node, "melm_lighting");
	zros_sub_init(&ctx->sub_battery_state, &ctx->node, &topic_battery_state,
		      &ctx->battery_state, 10);
	zros_sub_init(&ctx->sub_safety, &ctx->node, &topic_safety, &ctx->safety, 10);
	zros_sub_init(&ctx->sub_status, &ctx->node, &topic_status, &ctx->status, 10);
	zros_pub_init(&ctx->pub_led_array, &ctx->node, &topic_led_array, &ctx->led_array);
	k_sem_take(&ctx->running, K_FOREVER);
	LOG_INF("init");
}

static void melm_lighting_fini(struct context *ctx)
{
	zros_sub_fini(&ctx->sub_battery_state);
	zros_sub_fini(&ctx->sub_safety);
	zros_sub_fini(&ctx->sub_status);
	zros_pub_fini(&ctx->pub_led_array);
	zros_node_fini(&ctx->node);
	k_sem_give(&ctx->running);
	LOG_INF("fini");
}

static void set_led(const int index, const double *color, const double brightness,
		    synapse_pb_LEDArray_LED *led)
{
	led->index = index;
	led->r = brightness * color[0];
	led->g = brightness * color[1];
	led->b = brightness * color[2];
}

static void melm_lighting_run(void *p0, void *p1, void *p2)
{
	struct context *ctx = p0;
	ARG_UNUSED(p1);
	ARG_UNUSED(p2);

	melm_lighting_init(ctx);

	while (k_sem_take(&ctx->running, K_NO_WAIT) < 0) {

		// wait 33 ms
		k_msleep(33);

		// update subscriptions
		if (zros_sub_update_available(&ctx->sub_status)) {
			zros_sub_update(&ctx->sub_status);
		}

		if (zros_sub_update_available(&ctx->sub_safety)) {
			zros_sub_update(&ctx->sub_safety);
		}

		if (zros_sub_update_available(&ctx->sub_battery_state)) {
			zros_sub_update(&ctx->sub_battery_state);
		}

		// timing
		double t = k_uptime_ticks() / ((double)CONFIG_SYS_CLOCK_TICKS_PER_SEC);
		const double led_pulse_freq = 0.25;
		const double brightness_min = 4;
		const double brightness_max = 30;
		const double brightness_amplitude = (brightness_max - brightness_min) / 2;
		const double brightness_mean = (brightness_max + brightness_min) / 2;

		int brightness = brightness_mean +
				 brightness_amplitude * sin(2 * 3.14159 * led_pulse_freq * t);
		int led_msg_index = 0;

		const int mode_leds[] = {2, 3};
		const double color_auto[] = {1, 0, 0};
		const double color_manual[] = {0, 1, 0};
		const double color_cmd_vel[] = {0, 0, 1};
		const double color_unknown[] = {0.33, 0.33, 0.33};

		const int arm_leds[] = {1, 4};
		const double color_armed[] = {1, 0, 0};
		const double color_disarmed[] = {0, 1, 0};

		const int safety_leds[] = {0, 5};
		const double color_unsafe[] = {1, 0, 0};
		const double color_safe[] = {0, 1, 0};
		const double color_battery_critical[] = {1, 0.65, 0};
		const double color_calibration[] = {1, 1, 0};

		const int headlight_leds[] = {6, 7, 8, 9, 10, 11};
		const double color_white[] = {1, 1, 1};

		bool battery_critical = ctx->battery_state.voltage <
					CONFIG_CEREBRI_MELM_BATTERY_MIN_MILLIVOLT / 1000.0;

		// mode leds
		for (size_t i = 0; i < ARRAY_SIZE(mode_leds); i++) {
			const double *color = NULL;
			if (ctx->status.mode == synapse_pb_Status_Mode_MODE_ACTUATORS) {
				color = color_manual;
			} else if (ctx->status.mode == synapse_pb_Status_Mode_MODE_VELOCITY) {
				color = color_cmd_vel;
			} else if (ctx->status.mode == synapse_pb_Status_Mode_MODE_BEZIER) {
				color = color_auto;
			} else if (ctx->status.mode == synapse_pb_Status_Mode_MODE_CALIBRATION) {
				color = color_calibration;
			} else {
				color = color_unknown;
			}
			set_led(mode_leds[i], color, brightness,
				&ctx->led_array.led[led_msg_index]);
			led_msg_index++;
		}

		// arm leds
		for (size_t i = 0; i < ARRAY_SIZE(arm_leds); i++) {
			const double *color = NULL;
			if (battery_critical) {
				color = color_battery_critical;
			} else {
				if (ctx->status.arming ==
				    synapse_pb_Status_Arming_ARMING_DISARMED) {
					color = color_disarmed;
				} else if (ctx->status.arming ==
					   synapse_pb_Status_Arming_ARMING_ARMED) {
					color = color_armed;
				} else {
					color = color_unknown;
				}
			}
			set_led(arm_leds[i], color, brightness, &ctx->led_array.led[led_msg_index]);
			led_msg_index++;
		}

		// safety leds
		for (size_t i = 0; i < ARRAY_SIZE(safety_leds); i++) {
			const double *color = NULL;
			if (ctx->safety.status == synapse_pb_Safety_Status_SAFETY_SAFE) {
				color = color_safe;
			} else if (ctx->safety.status == synapse_pb_Safety_Status_SAFETY_UNSAFE) {
				color = color_unsafe;
			} else {
				color = color_unknown;
			}
			set_led(safety_leds[i], color, brightness,
				&ctx->led_array.led[led_msg_index]);
			led_msg_index++;
		}

		// headlight leds
		bool lights_on = ctx->status.flag & synapse_pb_Status_Flag_FLAG_LIGHTING;

		if (lights_on) {
			for (size_t i = 0; i < ARRAY_SIZE(headlight_leds); i++) {
				set_led(headlight_leds[i], color_white, 255,
					&ctx->led_array.led[led_msg_index]);
				led_msg_index++;
			}
		} else if (!lights_on) {
			for (size_t i = 0; i < ARRAY_SIZE(headlight_leds); i++) {
				set_led(headlight_leds[i], color_white, 0,
					&ctx->led_array.led[led_msg_index]);
				led_msg_index++;
			}
		}

		// set timestamp
		stamp_msg(&ctx->led_array.stamp, k_uptime_ticks());
		ctx->led_array.led_count = led_msg_index;

		zros_pub_update(&ctx->pub_led_array);
	}

	melm_lighting_fini(ctx);
}

static int start(struct context *ctx)
{
	k_tid_t tid =
		k_thread_create(&ctx->thread_data, ctx->stack_area, ctx->stack_size,
				melm_lighting_run, ctx, NULL, NULL, MY_PRIORITY, 0, K_FOREVER);
	k_thread_name_set(tid, "rdd2_lighting");
	k_thread_start(tid);
	return 0;
}

static int melm_lighting_cmd_handler(const struct shell *sh, size_t argc, char **argv, void *data)
{
	ARG_UNUSED(argc);
	struct context *ctx = data;
	if (argc != 1) {
		LOG_ERR("must have one argument");
		return -1;
	}

	if (strcmp(argv[0], "start") == 0) {
		if (k_sem_count_get(&g_ctx.running) == 0) {
			shell_print(sh, "already running");
		} else {
			start(ctx);
		}
	} else if (strcmp(argv[0], "stop") == 0) {
		if (k_sem_count_get(&g_ctx.running) == 0) {
			k_sem_give(&g_ctx.running);
		} else {
			shell_print(sh, "not running");
		}
	} else if (strcmp(argv[0], "status") == 0) {
		shell_print(sh, "running: %d", (int)k_sem_count_get(&g_ctx.running) == 0);
	}
	return 0;
}

SHELL_SUBCMD_DICT_SET_CREATE(sub_melm_lighting, melm_lighting_cmd_handler, (start, &g_ctx, "start"),
			     (stop, &g_ctx, "stop"), (status, &g_ctx, "status"));

SHELL_CMD_REGISTER(melm_lighting, &sub_melm_lighting, "melm lighting commands", NULL);

static int melm_lighting_sys_init(void)
{
	return start(&g_ctx);
};

SYS_INIT(melm_lighting_sys_init, APPLICATION, 10);

// vi: ts=4 sw=4 et
```

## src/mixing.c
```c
/*
 * Copyright CogniPilot Foundation 2023
 * SPDX-License-Identifier: Apache-2.0
 */

#include "mixing.h"

void melm_set_actuators(synapse_pb_Actuators *msg, double omega_left, double omega_right,
			bool armed)
{
	msg->has_stamp = true;
	stamp_msg(&msg->stamp, k_uptime_ticks());

	if (!armed) {
		// stop if not armed
		omega_left = 0;
		omega_right = 0;
	}

	msg->velocity_count = 2;
	msg->velocity[0] = omega_left;
	msg->velocity[1] = omega_right;
}

/* vi: ts=4 sw=4 et */
```

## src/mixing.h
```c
/*
 * Copyright CogniPilot Foundation 2023
 * SPDX-License-Identifier: Apache-2.0
 */

#ifndef CEREBRI_MELM_MIXING_H
#define CEREBRI_MELM_MIXING_H

#include <synapse_topic_list.h>

void melm_set_actuators(synapse_pb_Actuators *msg, double omega_left, double omega_right,
			bool armed);

#endif // CEREBRI_MELM_MIXING_H
/* vi: ts=4 sw=4 et */
```

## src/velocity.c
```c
/*
 * Copyright CogniPilot Foundation 2023
 * SPDX-License-Identifier: Apache-2.0
 */

#include "app/melm/casadi/melm.h"
#include "math.h"

#include <zephyr/kernel.h>
#include <zephyr/logging/log.h>
#include <zephyr/shell/shell.h>

#include <zros/private/zros_node_struct.h>
#include <zros/private/zros_pub_struct.h>
#include <zros/private/zros_sub_struct.h>
#include <zros/zros_node.h>
#include <zros/zros_pub.h>
#include <zros/zros_sub.h>

#include <cerebri/core/casadi.h>

#include "mixing.h"

#define MY_STACK_SIZE 3072
#define MY_PRIORITY   4

LOG_MODULE_REGISTER(melm_velocity, CONFIG_CEREBRI_MELM_LOG_LEVEL);

static K_THREAD_STACK_DEFINE(g_my_stack_area, MY_STACK_SIZE);

struct context {
	struct zros_node node;
	synapse_pb_Twist cmd_vel;
	synapse_pb_Status status;
	synapse_pb_Actuators actuators;
	struct zros_sub sub_status, sub_cmd_vel;
	struct zros_pub pub_actuators;
	const double wheel_radius;
	const double wheel_base;
	const double wheel_separation;
	struct k_sem running;
	size_t stack_size;
	k_thread_stack_t *stack_area;
	struct k_thread thread_data;
};

static struct context g_ctx = {
	.node = {},
	.cmd_vel = synapse_pb_Twist_init_default,
	.status = synapse_pb_Status_init_default,
	.actuators = synapse_pb_Actuators_init_default,
	.sub_status = {},
	.sub_cmd_vel = {},
	.pub_actuators = {},
	.wheel_radius = CONFIG_CEREBRI_MELM_WHEEL_RADIUS_MM / 1000.0,
	.wheel_base = CONFIG_CEREBRI_MELM_WHEEL_BASE_MM / 1000.0,
	.wheel_separation = CONFIG_CEREBRI_MELM_WHEEL_SEPARATION_MM / 1000.0,
	.running = Z_SEM_INITIALIZER(g_ctx.running, 1, 1),
	.stack_size = MY_STACK_SIZE,
	.stack_area = g_my_stack_area,
	.thread_data = {},
};

static void melm_velocity_init(struct context *ctx)
{
	zros_node_init(&ctx->node, "melm_velocity");
	zros_sub_init(&ctx->sub_cmd_vel, &ctx->node, &topic_cmd_vel, &ctx->cmd_vel, 10);
	zros_sub_init(&ctx->sub_status, &ctx->node, &topic_status, &ctx->status, 10);
	zros_pub_init(&ctx->pub_actuators, &ctx->node, &topic_actuators, &ctx->actuators);
	k_sem_take(&ctx->running, K_FOREVER);
	LOG_INF("init");
}

static void melm_velocity_fini(struct context *ctx)
{
	zros_pub_fini(&ctx->pub_actuators);
	zros_sub_fini(&ctx->sub_status);
	zros_sub_fini(&ctx->sub_cmd_vel);
	zros_node_fini(&ctx->node);
	k_sem_give(&ctx->running);
	LOG_INF("fini");
}

// computes actuators from cmd_vel
static void melm_velocity_update(struct context *ctx)
{
	double V = ctx->cmd_vel.linear.x;
	double omega = ctx->cmd_vel.angular.z;
	double Vw = 0; // differential wheel velocity

	CASADI_FUNC_ARGS(differential_steering);
	args[0] = &ctx->wheel_base;
	args[1] = &omega;
	args[2] = &ctx->wheel_separation;
	res[0] = &Vw;
	CASADI_FUNC_CALL(differential_steering);

	double omega_left = (V - Vw) / ctx->wheel_radius;
	;
	double omega_right = (V + Vw) / ctx->wheel_radius;
	;

	bool armed = ctx->status.arming == synapse_pb_Status_Arming_ARMING_ARMED;

	melm_set_actuators(&ctx->actuators, omega_left, omega_right, armed);

	// publish
	zros_pub_update(&ctx->pub_actuators);
}

static void melm_velocity_run(void *p0, void *p1, void *p2)
{
	struct context *ctx = p0;
	ARG_UNUSED(p1);
	ARG_UNUSED(p2);

	melm_velocity_init(ctx);

	while (k_sem_take(&ctx->running, K_NO_WAIT) < 0) {
		struct k_poll_event events[] = {
			*zros_sub_get_event(&ctx->sub_cmd_vel),
		};
		int rc = k_poll(events, ARRAY_SIZE(events), K_MSEC(1000));

		if (rc < 0) {
			LOG_DBG("not receiving cmd_vel");
			continue;
		}

		if (zros_sub_update_available(&ctx->sub_status)) {
			zros_sub_update(&ctx->sub_status);
		}

		if (zros_sub_update_available(&ctx->sub_cmd_vel)) {
			zros_sub_update(&ctx->sub_cmd_vel);
		}

		// handle modes
		if (ctx->status.mode != synapse_pb_Status_Mode_MODE_ACTUATORS) {
			melm_velocity_update(ctx);
		}
	}

	melm_velocity_fini(ctx);
}

static int start(struct context *ctx)
{
	k_tid_t tid =
		k_thread_create(&ctx->thread_data, ctx->stack_area, ctx->stack_size,
				melm_velocity_run, ctx, NULL, NULL, MY_PRIORITY, 0, K_FOREVER);
	k_thread_name_set(tid, "melm_velocity");
	k_thread_start(tid);
	return 0;
}

static int melm_velocity_cmd_handler(const struct shell *sh, size_t argc, char **argv, void *data)
{
	ARG_UNUSED(argc);
	struct context *ctx = data;

	if (strcmp(argv[0], "start") == 0) {
		if (k_sem_count_get(&g_ctx.running) == 0) {
			shell_print(sh, "already running");
		} else {
			start(ctx);
		}
	} else if (strcmp(argv[0], "stop") == 0) {
		if (k_sem_count_get(&g_ctx.running) == 0) {
			k_sem_give(&g_ctx.running);
		} else {
			shell_print(sh, "not running");
		}
	} else if (strcmp(argv[0], "status") == 0) {
		shell_print(sh, "running: %d", (int)k_sem_count_get(&g_ctx.running) == 0);
	}
	return 0;
}

SHELL_SUBCMD_DICT_SET_CREATE(sub_melm_velocity, melm_velocity_cmd_handler, (start, &g_ctx, "start"),
			     (stop, &g_ctx, "stop"), (status, &g_ctx, "status"));

SHELL_CMD_REGISTER(melm_velocity, &sub_melm_velocity, "melm velocity arguments", NULL);

static int melm_velocity_sys_init(void)
{
	return start(&g_ctx);
};

SYS_INIT(melm_velocity_sys_init, APPLICATION, 1);

// vi: ts=4 sw=4 et
```
